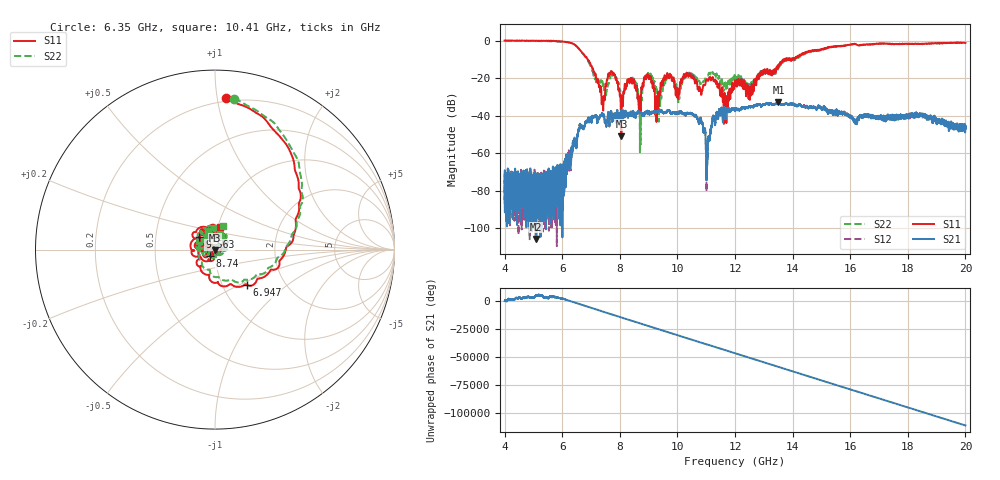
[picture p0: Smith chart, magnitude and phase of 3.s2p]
[Version] 2.0
! Rohde & Schwarz Vector Network Analyzer
! Rohde-Schwarz,ZNL20-2Port,1323001220200009,1.71.1.10-23.02.1.238
! Port Assignments:
! Nominal Port -> Actual Test Port
!  1 -> 1
!  2 -> 2
! Created: GMT+2 2025-01-17 12:07:22
# Hz S RI R 50
[Number of Ports] 2
[Two-Port Data Order] 21_12
! freq[Hz]  S11[Re]  S11[Im]  S21[Re]  S21[Im]  S12[Re]  S12[Im]  S22[Re]  S22[Im]
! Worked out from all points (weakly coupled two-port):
!   16001 points, 4 GHz to 20 GHz, reference 50 ohm
!   highest |S21| = -32.93 dB at 13.51 GHz (marker M1); lowest = -105.7 dB at 5.102 GHz (marker M2)
!   lowest |S11| = -51.1 dB at 8.055 GHz (marker M3), VSWR 1.01, Z = 49.9 - j0.252 ohm
!   |S11| at or under -10 dB: 6.887 GHz to 13.7 GHz (6.814 GHz wide, 66.2 % of centre); 13.71203 GHz to 13.74176 GHz (29.74 MHz wide, 0.217 % of centre); 13.94224 GHz to 13.96587 GHz (23.63 MHz wide, 0.169 % of centre) (the widest 3 of 9)
!   |S22| runs from -60.0 to 0.0 dB; largest |S21 - S12| = 0.0023
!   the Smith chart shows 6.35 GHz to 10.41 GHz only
!   S11 on the Smith chart (normalised r, x): 6.35 GHz: 0.18, +1.06; 6.947 GHz: 1.30, -0.55; 8.74 GHz: 0.94, -0.07; 9.563 GHz: 0.83, +0.12; 10.41 GHz: 1.02, +0.27
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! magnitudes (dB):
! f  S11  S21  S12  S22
! 4 GHz  0.0  -86.7  -71.4  -0.2
! 5.102 GHz  0.0  -105.7  -76.7  -0.2
! 5.788 GHz  -0.2  -78.8  -76.8  -0.4
! 6.35 GHz  -1.5  -58.0  -57.5  -1.5
! 6.667 GHz  -5.9  -46.0  -45.5  -6.0
! 6.947 GHz  -11.6  -43.1  -43.1  -12.6
! 7.401 GHz  -30.4  -39.0  -39.1  -22.4
! 7.719 GHz  -16.8  -41.2  -41.1  -18.9
! 8.055 GHz  -51.1  -37.3  -37.2  -30.9
! 8.424 GHz  -22.7  -39.5  -39.5  -21.6
! 8.74 GHz  -26.7  -38.7  -38.6  -30.3
! 8.999 GHz  -20.2  -37.9  -38.0  -18.7
! 9.334 GHz  -28.1  -37.6  -37.7  -30.3
! 9.563 GHz  -19.0  -38.6  -38.6  -22.0
! 10.41 GHz  -17.6  -38.6  -38.5  -17.1
! 11.05 GHz  -21.2  -55.2  -55.8  -18.7
! 11.67 GHz  -30.2  -40.9  -40.9  -22.5
! 12 GHz  -21.2  -37.6  -37.6  -19.2
! 13.51 GHz  -14.0  -32.9  -33.0  -14.1
! 14.67 GHz  -5.4  -35.4  -35.3  -5.9
! 17.33 GHz  -1.8  -41.0  -40.9  -1.8
! 20 GHz  -1.2  -45.6  -46.3  -1.2
